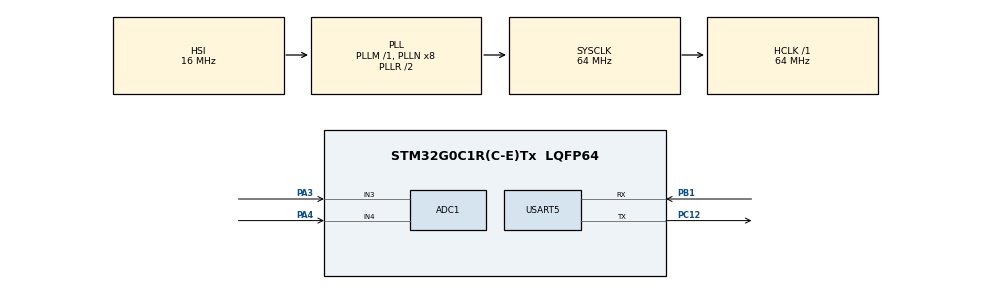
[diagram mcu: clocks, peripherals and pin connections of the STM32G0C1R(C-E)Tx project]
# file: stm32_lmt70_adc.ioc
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ADC1.Channel-1\#ChannelRegularConversion=ADC_CHANNEL_3
ADC1.Channel-3\#ChannelRegularConversion=ADC_CHANNEL_4
ADC1.ClockPrescaler=ADC_CLOCK_SYNC_PCLK_DIV2
ADC1.ContinuousConvMode=ENABLE
ADC1.DMAContinuousRequests=ENABLE
ADC1.NbrOfConversion=2
ADC1.NbrOfConversionFlag=1
ADC1.Rank-1\#ChannelRegularConversion=1
ADC1.Rank-3\#ChannelRegularConversion=2
ADC1.SamplingTime-1\#ChannelRegularConversion=ADC_SAMPLINGTIME_COMMON_1
ADC1.SamplingTime-3\#ChannelRegularConversion=ADC_SAMPLINGTIME_COMMON_2
ADC1.SamplingTimeCommon1=ADC_SAMPLETIME_160CYCLES_5
ADC1.SamplingTimeCommon2=ADC_SAMPLETIME_160CYCLES_5
ADC1.SelectedChannel=ADC_CHANNEL_3|ADC_CHANNEL_4
ADC1.Sequencer=FULLY_CONFIGURABLE
ADC1.master=1
Dma.ADC1.0.Direction=DMA_PERIPH_TO_MEMORY
Dma.ADC1.0.EventEnable=DISABLE
Dma.ADC1.0.Instance=DMA1_Channel1
Dma.ADC1.0.MemDataAlignment=DMA_MDATAALIGN_HALFWORD
Dma.ADC1.0.MemInc=DMA_MINC_ENABLE
Dma.ADC1.0.Mode=DMA_CIRCULAR
Dma.ADC1.0.PeriphDataAlignment=DMA_PDATAALIGN_HALFWORD
Dma.ADC1.0.PeriphInc=DMA_PINC_DISABLE
Dma.ADC1.0.Polarity=HAL_DMAMUX_REQ_GEN_RISING
Dma.ADC1.0.Priority=DMA_PRIORITY_LOW
Dma.ADC1.0.RequestNumber=1
Dma.ADC1.0.SignalID=NONE
Dma.ADC1.0.SyncEnable=DISABLE
Dma.ADC1.0.SyncPolarity=HAL_DMAMUX_SYNC_NO_EVENT
Dma.ADC1.0.SyncRequestNumber=1
Dma.ADC1.0.SyncSignalID=NONE
Dma.Request0=ADC1
Mcu.Family=STM32G0
Mcu.Name=STM32G0C1R(C-E)Tx
Mcu.Package=LQFP64
NVIC.DMA1_Channel1_IRQn=true\:0\:0\:false\:false\:true\:false\:true\:true
NVIC.TIM3_TIM4_IRQn=true\:0\:0\:false\:false\:true\:true\:true\:true
NVIC.USART3_4_5_6_LPUART1_IRQn=true\:0\:0\:false\:false\:true\:true\:true\:true
PA13.Mode=Serial_Wire
PA13.Signal=SYS_SWDIO
PA14-BOOT0.Mode=Serial_Wire
PA14-BOOT0.Signal=SYS_SWCLK
PA3.Mode=IN3
PA3.Signal=ADC1_IN3
PA4.Mode=IN4
PA4.Signal=ADC1_IN4
PB1.Mode=Asynchronous
PB1.Signal=USART5_RX
PC12.Mode=Asynchronous
PC12.Signal=USART5_TX
PF0-OSC_IN\ (PF0).Mode=HSE-External-Oscillator
PF0-OSC_IN\ (PF0).Signal=RCC_OSC_IN
PF1-OSC_OUT\ (PF1).Mode=HSE-External-Oscillator
PF1-OSC_OUT\ (PF1).Signal=RCC_OSC_OUT
ProjectManager.HeapSize=0x200
ProjectManager.StackSize=0x400
ProjectManager.TargetToolchain=MDK-ARM V5.32
RCC.ADCFreq_Value=64000000
RCC.AHBFreq_Value=64000000
RCC.CortexFreq_Value=64000000
RCC.EXTERNAL_CLOCK_VALUE=48000
RCC.HCLKFreq_Value=64000000
RCC.HSE_VALUE=8000000
RCC.HSI48_VALUE=48000000
RCC.HSI_VALUE=16000000
RCC.LSE_VALUE=32768
RCC.SYSCLKFreq_VALUE=64000000
RCC.SYSCLKSource=RCC_SYSCLKSOURCE_PLLCLK
RCC.USBFreq_Value=48000000
RCC.VCOOutputFreq_Value=128000000
TIM3.Period=7999
TIM3.Prescaler=799
USART5.VirtualMode-Asynchronous=VM_ASYNC
VP_SYS_VS_DBSignals.Mode=DisableDeadBatterySignals
VP_TIM3_VS_ClockSourceINT.Mode=Internal
board=custom

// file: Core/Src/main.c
/* USER CODE BEGIN Header */
/**
  ******************************************************************************
  * @file           : main.c
  * @brief          : Main program body
  ******************************************************************************
  * @attention
  *
  * Copyright (c) 2025 STMicroelectronics.
  * All rights reserved.
  *
  * This software is licensed under terms that can be found in the LICENSE file
  * in the root directory of this software component.
  * If no LICENSE file comes with this software, it is provided AS-IS.
  *
  ******************************************************************************
  */
/* USER CODE END Header */
#include "main.h"

/* USER CODE BEGIN Includes */
#include "stdio.h"
#include "stdlib.h"
#include "stdbool.h"
#include "string.h"
#include "print_cli.h"
/* USER CODE END Includes */

/* USER CODE BEGIN PTD */
#define Kp 100.0f
#define Ki 50.0f
#define Kb 1.0f
/* USER CODE END PTD */

ADC_HandleTypeDef hadc1;
DMA_HandleTypeDef hdma_adc1;

TIM_HandleTypeDef htim3;

UART_HandleTypeDef huart5;

void SystemClock_Config(void);
static void MX_GPIO_Init(void);
static void MX_DMA_Init(void);
static void MX_ADC1_Init(void);
static void MX_TIM3_Init(void);
static void MX_USART5_UART_Init(void);
/* USER CODE BEGIN PFP */
volatile uint16_t adc_temp[2];
uint16_t adc_filtered = 0;
volatile float temp;
float sampleTime = 0.1f;
uint16_t charging_current;
/* USER CODE END PFP */

/* USER CODE BEGIN 0 */

uint16_t lowpass_filter(uint16_t raw_value, uint16_t filter_value, uint8_t filter_alpha)
{
	uint32_t temp = (uint32_t)filter_value * filter_alpha + raw_value;
	return temp / (1 + filter_alpha);
}
float LM70_CalculateTemperature(uint16_t adc_value)
{
	float Vref = 3.297f;
	float v_tao_mV = (adc_value / 4095.0f) * Vref * 1000.0f;
	float a = -1.809628e-09f;
	float b = -3.325395e-06f;
	float c = -1.814103e-01f;
	float d = 2.055894e+02f;

	float temp_c = a * v_tao_mV * v_tao_mV * v_tao_mV
							 + b * v_tao_mV * v_tao_mV
							 + c * v_tao_mV
							 + d;

	return temp_c;
}

int PI_Temp2Current(float T_setpoint, float T_measured)
{
	static float err_prev = 0;
	static float ui_prev = 0;
	static float e_reset = 0;

	float err, up, ui, u_total, anti_windup;
	float u_limited;
	int output_mA;

	err = T_setpoint - T_measured;

	up = Kp * err;
	anti_windup = Ki * err + Kb * e_reset;
	ui = ui_prev + anti_windup * sampleTime;

	ui_prev = ui;
	err_prev = err;

	u_total = up + ui;

	if (u_total > 5000.0f)
		u_limited = 5000.0f;
	else if (u_total < 500.0f)
		u_limited = 500.0f;
	else
		u_limited = u_total;

	// Anti-windup
	e_reset = u_limited - u_total;

	output_mA = ((int)(u_limited + 25.0f)) / 50 * 50;

	return output_mA;
}

void HAL_TIM_PeriodElapsedCallback(TIM_HandleTypeDef *htim)
{
	if(htim->Instance == TIM3)
	{
		adc_filtered = lowpass_filter(adc_temp[0],adc_filtered,4);
		temp = LM70_CalculateTemperature(adc_filtered);
		charging_current = PI_Temp2Current(45.0f, temp);
	}
}
/* USER CODE END 0 */

int main(void)
{

  /* MCU Configuration--------------------------------------------------------*/

  /* Reset of all peripherals, Initializes the Flash interface and the Systick. */
  HAL_Init();

  /* Configure the system clock */
  SystemClock_Config();

  /* Initialize all configured peripherals */
  MX_GPIO_Init();
  MX_DMA_Init();
  MX_ADC1_Init();
  MX_TIM3_Init();
  MX_USART5_UART_Init();
  /* USER CODE BEGIN 2 */
	HAL_ADCEx_Calibration_Start(&hadc1);
	HAL_ADC_Start_DMA(&hadc1, (uint32_t*)adc_temp, 2);
	HAL_TIM_Base_Start_IT(&htim3);
  /* USER CODE END 2 */

  /* Infinite loop */
  /* USER CODE BEGIN WHILE */
  while (1)
  {
		static uint32_t last_print = 0;
		if(HAL_GetTick() -  last_print >= 500)
		{
			print_cli("TEMP=%.2f;CURRENT=%d\n", temp, charging_current);
			last_print = HAL_GetTick();
		}
    /* USER CODE END WHILE */

  }
}

void SystemClock_Config(void)
{
  RCC_OscInitTypeDef RCC_OscInitStruct = {0};
  RCC_ClkInitTypeDef RCC_ClkInitStruct = {0};

  /** Configure the main internal regulator output voltage
  */
  HAL_PWREx_ControlVoltageScaling(PWR_REGULATOR_VOLTAGE_SCALE1);

  /** Initializes the RCC Oscillators according to the specified parameters
  * in the RCC_OscInitTypeDef structure.
  */
  RCC_OscInitStruct.OscillatorType = RCC_OSCILLATORTYPE_HSI;
  RCC_OscInitStruct.HSIState = RCC_HSI_ON;
  RCC_OscInitStruct.HSIDiv = RCC_HSI_DIV1;
  RCC_OscInitStruct.HSICalibrationValue = RCC_HSICALIBRATION_DEFAULT;
  RCC_OscInitStruct.PLL.PLLState = RCC_PLL_ON;
  RCC_OscInitStruct.PLL.PLLSource = RCC_PLLSOURCE_HSI;
  RCC_OscInitStruct.PLL.PLLM = RCC_PLLM_DIV1;
  RCC_OscInitStruct.PLL.PLLN = 8;
  RCC_OscInitStruct.PLL.PLLP = RCC_PLLP_DIV2;
  RCC_OscInitStruct.PLL.PLLQ = RCC_PLLQ_DIV2;
  RCC_OscInitStruct.PLL.PLLR = RCC_PLLR_DIV2;
  if (HAL_RCC_OscConfig(&RCC_OscInitStruct) != HAL_OK)
  {
    Error_Handler();
  }

  /** Initializes the CPU, AHB and APB buses clocks
  */
  RCC_ClkInitStruct.ClockType = RCC_CLOCKTYPE_HCLK|RCC_CLOCKTYPE_SYSCLK
                              |RCC_CLOCKTYPE_PCLK1;
  RCC_ClkInitStruct.SYSCLKSource = RCC_SYSCLKSOURCE_PLLCLK;
  RCC_ClkInitStruct.AHBCLKDivider = RCC_SYSCLK_DIV1;
  RCC_ClkInitStruct.APB1CLKDivider = RCC_HCLK_DIV1;

  if (HAL_RCC_ClockConfig(&RCC_ClkInitStruct, FLASH_LATENCY_2) != HAL_OK)
  {
    Error_Handler();
  }
}

static void MX_ADC1_Init(void)
{

  ADC_ChannelConfTypeDef sConfig = {0};

  /** Configure the global features of the ADC (Clock, Resolution, Data Alignment and number of conversion)
  */
  hadc1.Instance = ADC1;
  hadc1.Init.ClockPrescaler = ADC_CLOCK_SYNC_PCLK_DIV2;
  hadc1.Init.Resolution = ADC_RESOLUTION_12B;
  hadc1.Init.DataAlign = ADC_DATAALIGN_RIGHT;
  hadc1.Init.ScanConvMode = ADC_SCAN_ENABLE;
  hadc1.Init.EOCSelection = ADC_EOC_SINGLE_CONV;
  hadc1.Init.LowPowerAutoWait = DISABLE;
  hadc1.Init.LowPowerAutoPowerOff = DISABLE;
  hadc1.Init.ContinuousConvMode = ENABLE;
  hadc1.Init.NbrOfConversion = 2;
  hadc1.Init.ExternalTrigConv = ADC_SOFTWARE_START;
  hadc1.Init.ExternalTrigConvEdge = ADC_EXTERNALTRIGCONVEDGE_NONE;
  hadc1.Init.DMAContinuousRequests = ENABLE;
  hadc1.Init.Overrun = ADC_OVR_DATA_PRESERVED;
  hadc1.Init.SamplingTimeCommon1 = ADC_SAMPLETIME_160CYCLES_5;
  hadc1.Init.SamplingTimeCommon2 = ADC_SAMPLETIME_160CYCLES_5;
  hadc1.Init.OversamplingMode = DISABLE;
  hadc1.Init.TriggerFrequencyMode = ADC_TRIGGER_FREQ_HIGH;
  if (HAL_ADC_Init(&hadc1) != HAL_OK)
  {
    Error_Handler();
  }

  /** Configure Regular Channel
  */
  sConfig.Channel = ADC_CHANNEL_3;
  sConfig.Rank = ADC_REGULAR_RANK_1;
  sConfig.SamplingTime = ADC_SAMPLINGTIME_COMMON_1;
  if (HAL_ADC_ConfigChannel(&hadc1, &sConfig) != HAL_OK)
  {
    Error_Handler();
  }

  /** Configure Regular Channel
  */
  sConfig.Channel = ADC_CHANNEL_4;
  sConfig.Rank = ADC_REGULAR_RANK_2;
  sConfig.SamplingTime = ADC_SAMPLINGTIME_COMMON_2;
  if (HAL_ADC_ConfigChannel(&hadc1, &sConfig) != HAL_OK)
  {
    Error_Handler();
  }

}

static void MX_TIM3_Init(void)
{

  TIM_ClockConfigTypeDef sClockSourceConfig = {0};
  TIM_MasterConfigTypeDef sMasterConfig = {0};

  htim3.Instance = TIM3;
  htim3.Init.Prescaler = 799;
  htim3.Init.CounterMode = TIM_COUNTERMODE_UP;
  htim3.Init.Period = 7999;
  htim3.Init.ClockDivision = TIM_CLOCKDIVISION_DIV1;
  htim3.Init.AutoReloadPreload = TIM_AUTORELOAD_PRELOAD_DISABLE;
  if (HAL_TIM_Base_Init(&htim3) != HAL_OK)
  {
    Error_Handler();
  }
  sClockSourceConfig.ClockSource = TIM_CLOCKSOURCE_INTERNAL;
  if (HAL_TIM_ConfigClockSource(&htim3, &sClockSourceConfig) != HAL_OK)
  {
    Error_Handler();
  }
  sMasterConfig.MasterOutputTrigger = TIM_TRGO_RESET;
  sMasterConfig.MasterSlaveMode = TIM_MASTERSLAVEMODE_DISABLE;
  if (HAL_TIMEx_MasterConfigSynchronization(&htim3, &sMasterConfig) != HAL_OK)
  {
    Error_Handler();
  }

}

static void MX_USART5_UART_Init(void)
{

  huart5.Instance = USART5;
  huart5.Init.BaudRate = 115200;
  huart5.Init.WordLength = UART_WORDLENGTH_8B;
  huart5.Init.StopBits = UART_STOPBITS_1;
  huart5.Init.Parity = UART_PARITY_NONE;
  huart5.Init.Mode = UART_MODE_TX_RX;
  huart5.Init.HwFlowCtl = UART_HWCONTROL_NONE;
  huart5.Init.OverSampling = UART_OVERSAMPLING_16;
  huart5.Init.OneBitSampling = UART_ONE_BIT_SAMPLE_DISABLE;
  huart5.Init.ClockPrescaler = UART_PRESCALER_DIV1;
  huart5.AdvancedInit.AdvFeatureInit = UART_ADVFEATURE_NO_INIT;
  if (HAL_UART_Init(&huart5) != HAL_OK)
  {
    Error_Handler();
  }

}

static void MX_DMA_Init(void)
{

  /* DMA controller clock enable */
  __HAL_RCC_DMA1_CLK_ENABLE();

  /* DMA interrupt init */
  /* DMA1_Channel1_IRQn interrupt configuration */
  HAL_NVIC_SetPriority(DMA1_Channel1_IRQn, 0, 0);
  HAL_NVIC_EnableIRQ(DMA1_Channel1_IRQn);

}

static void MX_GPIO_Init(void)
{

  /* GPIO Ports Clock Enable */
  __HAL_RCC_GPIOC_CLK_ENABLE();
  __HAL_RCC_GPIOF_CLK_ENABLE();
  __HAL_RCC_GPIOA_CLK_ENABLE();
  __HAL_RCC_GPIOB_CLK_ENABLE();

}

void Error_Handler(void)
{
  __disable_irq();
  while (1)
  {
  }
}
